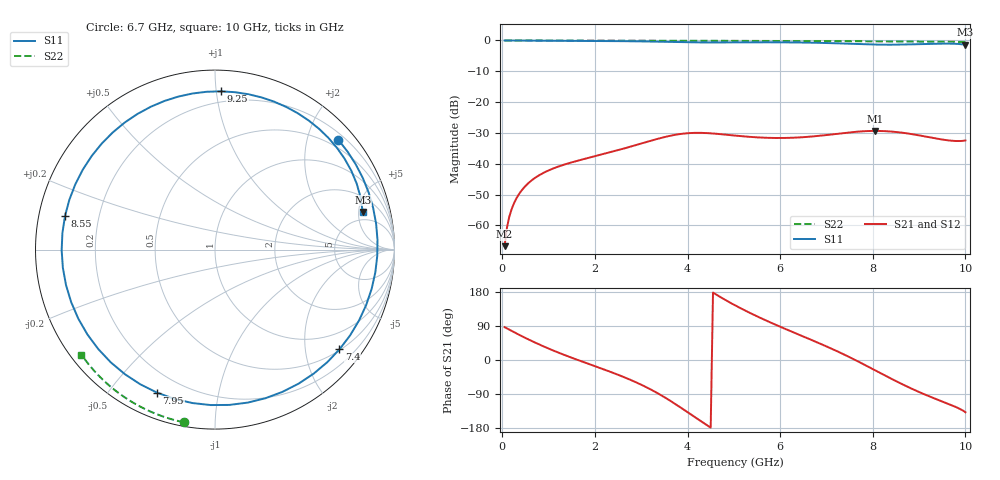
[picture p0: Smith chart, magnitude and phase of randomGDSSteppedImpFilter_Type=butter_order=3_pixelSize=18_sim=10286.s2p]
! freq	dB(S11)	phase(S11)	dB(S12)	phase(S12)
!  dB(S21)	phase(S21)	dB(S22)	phase(S22)
!S-par simulation data
#  GHz  S  DB  R 50
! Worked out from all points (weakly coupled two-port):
!   200 points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, 50 MHz to 10 GHz, reference 50 ohm
!   highest |S21| = -29.36 dB at 8.05 GHz (marker M1); lowest = -66.8 dB at 50 MHz (marker M2)
!   lowest |S11| = -1.4 dB at 10 GHz (marker M3), VSWR 12.26, Z = 185 + j278 ohm
!   |S11| at or under -10 dB: nowhere
!   |S22| runs from -0.5 to 0.0 dB; largest |S21 - S12| = 0
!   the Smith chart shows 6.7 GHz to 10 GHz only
!   S11 on the Smith chart (normalised r, x): 6.7 GHz: 0.33, +2.60; 7.4 GHz: 0.52, -2.76; 7.95 GHz: 0.11, -0.67; 8.55 GHz: 0.08, +0.11; 9.25 GHz: 0.13, +1.03; 10 GHz: 3.69, +5.56
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0.05  -0.00 -5.7  -66.77 86.7  -66.77 86.7  -0.00 -0.8
0.25  -0.03 -28.3  -52.93 73.7  -52.93 73.7  -0.00 -4.1
0.8  -0.10 -85.4  -43.71 40.9  -43.71 40.9  -0.02 -13.1
1.75  -0.16 -164.9  -38.55 -5.3  -38.55 -5.3  -0.04 -28.4
2.25  -0.19 157.3  -36.62 -27.4  -36.62 -27.4  -0.05 -36.3
2.8  -0.26 111.7  -34.33 -54.1  -34.33 -54.1  -0.06 -44.8
3.4  -0.42 49.0  -31.75 -90.9  -31.75 -90.9  -0.07 -53.9
3.85  -0.57 -10.4  -30.35 -125.4  -30.35 -125.4  -0.09 -60.6
4.3  -0.65 -73.6  -30.00 -162.5  -30.00 -162.5  -0.10 -67.2
4.6  -0.65 -112.4  -30.26 174.1  -30.26 174.1  -0.11 -71.5
5.05  -0.62 -162.6  -30.91 142.7  -30.91 142.7  -0.12 -77.8
5.45  -0.60 158.7  -31.40 118.2  -31.40 118.2  -0.14 -83.4
5.95  -0.61 113.3  -31.66 90.5  -31.66 90.5  -0.16 -90.2
6.7  -0.73 41.6  -31.16 51.7  -31.16 51.7  -0.20 -100.2
7.05  -0.85 3.5  -30.61 33.1  -30.61 33.1  -0.22 -104.7
7.4  -1.02 -38.7  -30.00 13.3  -30.00 13.3  -0.24 -109.3
7.95  -1.31 -112.1  -29.38 -20.8  -29.38 -20.8  -0.28 -116.3
8.05  -1.34 -125.9  -29.36 -27.2  -29.36 -27.2  -0.29 -117.5
8.35  -1.38 -166.6  -29.51 -46.3  -29.51 -46.3  -0.31 -121.3
8.55  -1.35 167.4  -29.79 -58.7  -29.79 -58.7  -0.33 -123.8
9.25  -1.09 87.9  -31.50 -97.4  -31.50 -97.4  -0.39 -132.5
10  -1.42 14.3  -32.46 -137.8  -32.46 -137.8  -0.48 -141.9
